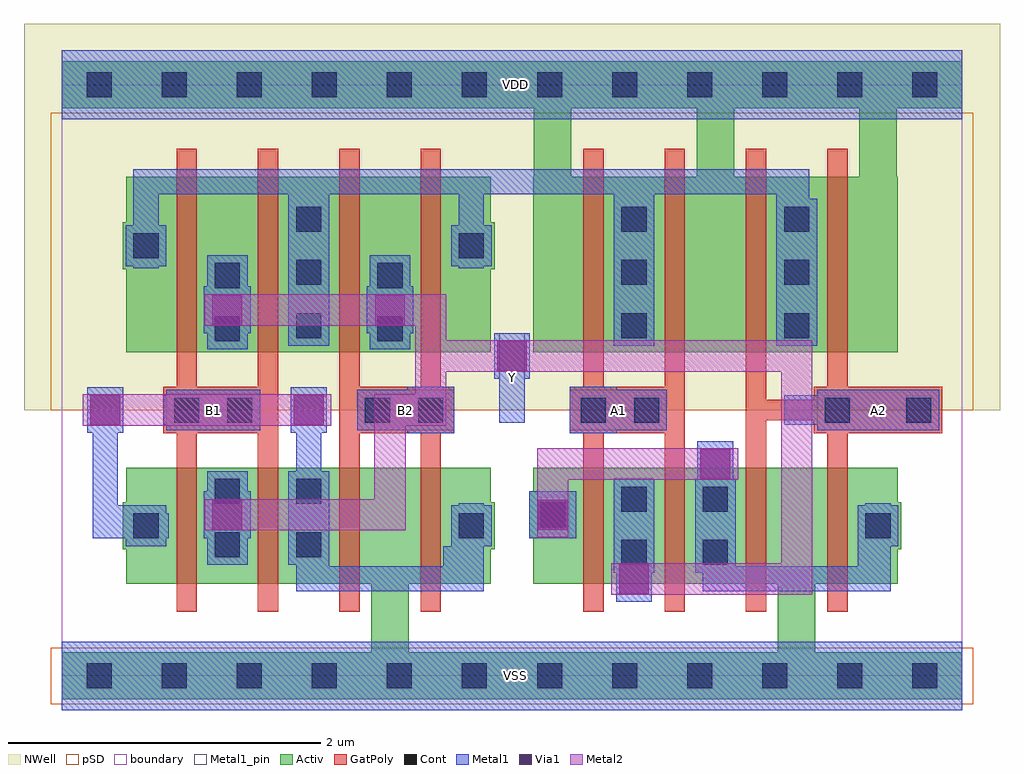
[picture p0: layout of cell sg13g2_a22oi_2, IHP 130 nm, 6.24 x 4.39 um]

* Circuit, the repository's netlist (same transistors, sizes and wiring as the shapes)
.SUBCKT sg13g2_a22oi_2 Y A1 A2 B1 B2 VDD VSS
*.PININFO A1:I A2:I B1:I B2:I Y:O VDD:B VSS:B
MN0 net1 B2 VSS VSS sg13_lv_nmos w=1.48u l=130.00n ng=2
MN1 Y B1 net1 VSS sg13_lv_nmos w=1.48u l=130.00n ng=2
MN2 net2 A2 VSS VSS sg13_lv_nmos w=1.48u l=130.00n ng=2
MN3 Y A1 net2 VSS sg13_lv_nmos w=1.48u l=130.00n ng=2
MP0 Y B1 net3 VDD sg13_lv_pmos w=2.24u l=130.00n ng=2
MP1 Y B2 net3 VDD sg13_lv_pmos w=2.24u l=130.00n ng=2
MP2 net3 A2 VDD VDD sg13_lv_pmos w=2.24u l=130.00n ng=2
MP3 net3 A1 VDD VDD sg13_lv_pmos w=2.24u l=130.00n ng=2
.ENDS

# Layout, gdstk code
import gdstk
lib = gdstk.Library(unit=1e-6, precision=1e-09)
def R(c, l, rs):  # rectangles x0, y0, x1, y1
    for r in rs: c.add(gdstk.rectangle(r[:2], r[2:], *l))
def A(c, l, x, y, w, h, nx, ny, dx, dy):  # array of equal rectangles
    R(c, l, [(x+i*dx, y+j*dy, x+i*dx+w, y+j*dy+h) for i in range(nx) for j in range(ny)])
def P(c, l, *ps):  # polygons
    for p in ps: c.add(gdstk.Polygon(p, *l))
Activ = (1, 0)
GatPoly = (5, 0)
Cont = (6, 0)
Metal1 = (8, 0)
Metal1_pin = (8, 2)
Metal2 = (10, 0)
pSD = (14, 0)
Via1 = (19, 0)
NWell = (31, 0)
boundary = (189, 4)

sg13g2_a22oi_2 = lib.new_cell('sg13g2_a22oi_2')
P(sg13g2_a22oi_2, Activ, [(0,-0.15),(5.76,-0.15),(5.76,0.15),(4.82,0.15),(4.82,0.59),(5.345,0.59),(5.345,0.81),(5.37,0.81),(5.37,1.11),(5.345,1.11),(5.345,1.33),(3.015,1.33),(3.015,1.18),(2.99,1.18),(2.99,0.88),(3.015,0.88),(3.015,0.59),(4.58,0.59),(4.58,0.15),(2.22,0.15),(2.22,0.59),(2.745,0.59),(2.745,0.81),(2.77,0.81),(2.77,1.11),(2.745,1.11),(2.745,1.33),(0.415,1.33),(0.415,1.11),(0.39,1.11),(0.39,0.81),(0.415,0.81),(0.415,0.59),(1.98,0.59),(1.98,0.15),(0,0.15)],
  [(3.02,3.19),(3.26,3.19),(3.26,3.63),(4.06,3.63),(4.06,3.19),(4.3,3.19),(4.3,3.63),(5.1,3.63),(5.1,3.19),(5.34,3.19),(5.34,3.63),(5.76,3.63),(5.76,3.93),(0,3.93),(0,3.63),(3.02,3.63),(3.02,3.19),(3.015,3.19),(3.015,2.07),(5.345,2.07),(5.345,3.19)],
  [(0.39,2.6),(0.415,2.6),(0.415,2.07),(2.745,2.07),(2.745,2.6),(2.77,2.6),(2.77,2.9),(2.745,2.9),(2.745,3.19),(0.415,3.19),(0.415,2.9),(0.39,2.9)])
P(sg13g2_a22oi_2, GatPoly, [(0.65,1.55),(0.735,1.55),(0.735,0.41),(0.865,0.41),(0.865,1.55),(1.255,1.55),(1.255,0.41),(1.385,0.41),(1.385,3.37),(1.255,3.37),(1.255,1.85),(0.865,1.85),(0.865,3.37),(0.735,3.37),(0.735,1.85),(0.65,1.85)],
  [(1.775,0.41),(1.905,0.41),(1.905,1.55),(2.295,1.55),(2.295,0.41),(2.425,0.41),(2.425,1.55),(2.51,1.55),(2.51,1.85),(2.425,1.85),(2.425,3.37),(2.295,3.37),(2.295,1.85),(1.905,1.85),(1.905,3.37),(1.775,3.37)],
  [(3.25,1.55),(3.335,1.55),(3.335,0.41),(3.465,0.41),(3.465,1.55),(3.855,1.55),(3.855,0.41),(3.985,0.41),(3.985,3.37),(3.855,3.37),(3.855,1.85),(3.465,1.85),(3.465,3.37),(3.335,3.37),(3.335,1.85),(3.25,1.85)],
  [(4.375,0.41),(4.505,0.41),(4.505,1.635),(4.81,1.635),(4.81,1.55),(4.895,1.55),(4.895,0.41),(5.025,0.41),(5.025,1.55),(5.63,1.55),(5.63,1.85),(5.025,1.85),(5.025,3.37),(4.895,3.37),(4.895,1.85),(4.81,1.85),(4.81,1.765),(4.505,1.765),(4.505,3.37),(4.375,3.37)])
A(sg13g2_a22oi_2, Cont, 0.16, -0.08, 0.16, 0.16, 12, 2, 0.48, 3.78)
A(sg13g2_a22oi_2, Cont, 1.5, 2.16, 0.16, 0.16, 1, 3, 0, 0.34)
A(sg13g2_a22oi_2, Cont, 3.58, 2.16, 0.16, 0.16, 1, 3, 0, 0.34)
A(sg13g2_a22oi_2, Cont, 4.62, 2.16, 0.16, 0.16, 1, 3, 0, 0.34)
R(sg13g2_a22oi_2, Cont, [(3.58,0.71,3.74,0.87), (4.1,0.71,4.26,0.87), (0.98,0.76,1.14,0.92), (1.5,0.76,1.66,0.92), (0.46,0.88,0.62,1.04), (2.54,0.88,2.7,1.04), (5.14,0.88,5.3,1.04), (3.06,0.95,3.22,1.11), (3.58,1.05,3.74,1.21), (4.1,1.05,4.26,1.21), (0.98,1.1,1.14,1.26), (1.5,1.1,1.66,1.26), (0.72,1.62,0.88,1.78), (1.06,1.62,1.22,1.78), (1.94,1.62,2.1,1.78), (2.28,1.62,2.44,1.78), (3.32,1.62,3.48,1.78), (3.66,1.62,3.82,1.78), (4.88,1.62,5.04,1.78), (5.4,1.62,5.56,1.78), (0.98,2.14,1.14,2.3), (2.02,2.14,2.18,2.3), (0.98,2.48,1.14,2.64), (2.02,2.48,2.18,2.64), (0.46,2.67,0.62,2.83), (2.54,2.67,2.7,2.83)])
R(sg13g2_a22oi_2, Metal1, [(0,-0.22,5.76,0.22), (2.99,0.88,3.29,1.18), (0,3.56,5.76,4)])
P(sg13g2_a22oi_2, Metal1, [(0.165,1.555),(0.2,1.555),(0.2,0.88),(0.41,0.88),(0.41,0.83),(0.67,0.83),(0.67,0.88),(0.685,0.88),(0.685,1.04),(0.67,1.04),(0.67,1.09),(0.36,1.09),(0.36,1.555),(0.395,1.555),(0.395,1.845),(0.165,1.845)],
  [(0.41,2.62),(0.46,2.62),(0.46,2.605),(0.62,2.605),(0.62,2.62),(0.67,2.62),(0.67,2.88),(0.62,2.88),(0.62,3.08),(1.45,3.08),(1.45,2.11),(1.71,2.11),(1.71,3.08),(2.54,3.08),(2.54,2.88),(2.49,2.88),(2.49,2.62),(2.54,2.62),(2.54,2.605),(2.7,2.605),(2.7,2.62),(2.75,2.62),(2.75,2.88),(2.7,2.88),(2.7,3.08),(3.53,3.08),(3.53,2.11),(3.79,2.11),(3.79,3.08),(4.57,3.08),(4.57,2.11),(4.83,2.11),(4.83,3.05),(4.78,3.05),(4.78,3.24),(0.46,3.24),(0.46,2.88),(0.41,2.88)],
  [(0.655,1.605),(0.67,1.605),(0.67,1.57),(1.27,1.57),(1.27,1.83),(0.67,1.83),(0.67,1.795),(0.655,1.795)],
  [(0.91,0.88),(0.93,0.88),(0.93,0.71),(1.19,0.71),(1.19,0.88),(1.21,0.88),(1.21,1.18),(1.19,1.18),(1.19,1.31),(0.93,1.31),(0.93,1.18),(0.91,1.18)],
  [(0.91,2.19),(0.93,2.19),(0.93,2.09),(1.19,2.09),(1.19,2.19),(1.21,2.19),(1.21,2.49),(1.19,2.49),(1.19,2.69),(0.93,2.69),(0.93,2.49),(0.91,2.49)],
  [(1.45,0.71),(1.5,0.71),(1.5,0.54),(2.7,0.54),(2.7,0.83),(2.75,0.83),(2.75,1.09),(2.7,1.09),(2.7,1.105),(2.54,1.105),(2.54,1.09),(2.49,1.09),(2.49,0.83),(2.44,0.83),(2.44,0.7),(1.71,0.7),(1.71,1.31),(1.66,1.31),(1.66,1.555),(1.695,1.555),(1.695,1.845),(1.465,1.845),(1.465,1.555),(1.5,1.555),(1.5,1.31),(1.45,1.31)],
  [(1.89,1.57),(2.21,1.57),(2.21,1.55),(2.51,1.55),(2.51,1.85),(2.21,1.85),(2.21,1.83),(1.89,1.83)],
  [(1.95,2.19),(1.97,2.19),(1.97,2.09),(2.23,2.09),(2.23,2.19),(2.25,2.19),(2.25,2.49),(2.23,2.49),(2.23,2.69),(1.97,2.69),(1.97,2.49),(1.95,2.49)],
  [(2.765,1.9),(2.8,1.9),(2.8,1.62),(2.96,1.62),(2.96,1.9),(2.995,1.9),(2.995,2.19),(2.765,2.19)],
  [(3.25,1.55),(3.55,1.55),(3.55,1.57),(3.87,1.57),(3.87,1.83),(3.55,1.83),(3.55,1.85),(3.25,1.85)],
  [(3.53,0.66),(3.545,0.66),(3.545,0.475),(3.775,0.475),(3.775,0.66),(3.79,0.66),(3.79,1.26),(3.53,1.26)],
  [(4.05,0.66),(4.1,0.66),(4.1,0.54),(5.3,0.54),(5.3,0.83),(5.35,0.83),(5.35,1.09),(5.3,1.09),(5.3,1.105),(5.14,1.105),(5.14,1.09),(5.09,1.09),(5.09,0.7),(4.31,0.7),(4.31,1.26),(4.295,1.26),(4.295,1.5),(4.065,1.5),(4.065,1.26),(4.05,1.26)],
  [(4.62,1.605),(4.83,1.605),(4.83,1.57),(5.61,1.57),(5.61,1.83),(4.83,1.83),(4.83,1.795),(4.62,1.795)])
R(sg13g2_a22oi_2, Metal1_pin, [(0,-0.22,5.76,0.22), (0.67,1.57,1.27,1.83), (1.89,1.57,2.51,1.83), (3.25,1.57,3.87,1.83), (4.83,1.57,5.61,1.83), (2.8,1.62,2.96,2.19), (0,3.56,5.76,4)])
R(sg13g2_a22oi_2, Metal2, [(0.135,1.6,1.725,1.8)])
P(sg13g2_a22oi_2, Metal2, [(0.915,0.93),(2.2,0.93),(2.2,1.6),(2.46,1.6),(2.46,1.945),(4.6,1.945),(4.6,0.72),(3.515,0.72),(3.515,0.52),(4.8,0.52),(4.8,2.145),(2.46,2.145),(2.46,2.44),(0.915,2.44),(0.915,2.24),(2.26,2.24),(2.26,1.8),(2,1.8),(2,1.13),(0.915,1.13)],
  [(3.04,0.885),(3.24,0.885),(3.24,1.255),(4.325,1.255),(4.325,1.455),(3.04,1.455)])
R(sg13g2_a22oi_2, pSD, [(-0.07,-0.18,5.83,0.18), (-0.07,1.7,5.83,3.6)])
R(sg13g2_a22oi_2, Via1, [(3.565,0.525,3.755,0.715), (0.965,0.935,1.155,1.125), (3.045,0.935,3.235,1.125), (4.085,1.26,4.275,1.45), (0.185,1.605,0.375,1.795), (1.485,1.605,1.675,1.795), (2.785,1.95,2.975,2.14), (0.965,2.245,1.155,2.435), (2.005,2.245,2.195,2.435)])
R(sg13g2_a22oi_2, NWell, [(-0.24,1.7,6,4.17)])
R(sg13g2_a22oi_2, boundary, [(0,0,5.76,3.78)])
sg13g2_a22oi_2.add(gdstk.Label('B1', (0.97,1.7), layer=8, texttype=25))
sg13g2_a22oi_2.add(gdstk.Label('Y', (2.88,1.905), layer=8, texttype=25))
sg13g2_a22oi_2.add(gdstk.Label('B2', (2.2,1.7), layer=8, texttype=25))
sg13g2_a22oi_2.add(gdstk.Label('A1', (3.56,1.7), layer=8, texttype=25))
sg13g2_a22oi_2.add(gdstk.Label('A2', (5.22,1.7), layer=8, texttype=25))
sg13g2_a22oi_2.add(gdstk.Label('VSS', (2.9,0), layer=8, texttype=25))
sg13g2_a22oi_2.add(gdstk.Label('VDD', (2.9,3.78), layer=8, texttype=25))

lib.write_gds('sg13g2_a22oi_2.gds')
